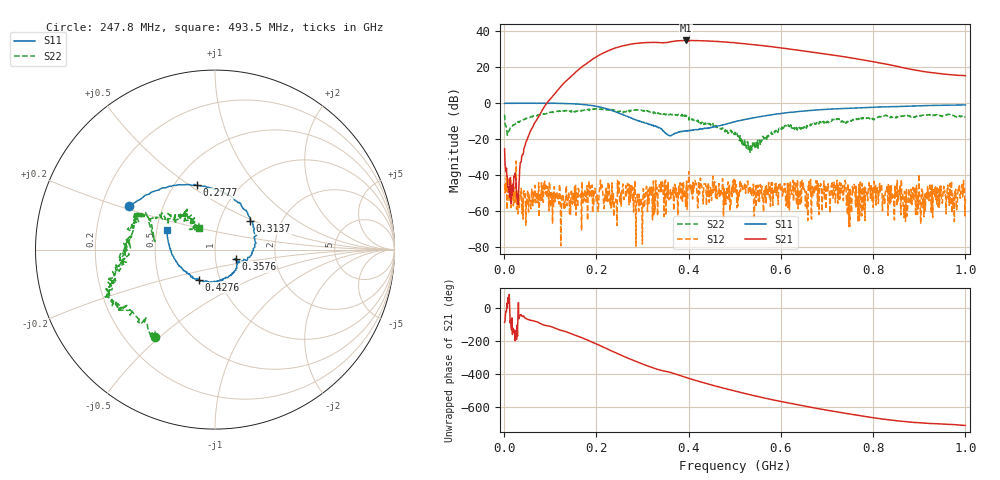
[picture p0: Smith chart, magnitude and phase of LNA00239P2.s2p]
! Created with skrf 1.9.0 (http://scikit-rf.org).
# Hz S RI R 50.0
!freq ReS11 ImS11 ReS21 ImS21 ReS12 ImS12 ReS22 ImS22
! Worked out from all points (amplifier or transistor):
!   1001 points, 1 MHz to 1 GHz, reference 50 ohm
!   highest |S21| = 35.0 dB at 394.6 MHz (marker M1)
!   |S21| within 3 dB of that: 257.2 MHz to 563.2 MHz (306 MHz wide, 74.6 % of centre)
!   unconditionally stable (mu >= 1): start of sweep to 80.59 MHz; 234 MHz to 283.5 MHz; 283.9 MHz to end of sweep (the widest 3 of 30)
!   at 166.8 MHz: K = 0.87, MSG = 34.8 dB, |S12| = -49.7 dB
!   at 500.5 MHz: K = 1.48, MAG = 34.3 dB, |S12| = -43.1 dB
!   at 1 GHz: K = 6.78, MAG = 23.2 dB, |S12| = -53.5 dB
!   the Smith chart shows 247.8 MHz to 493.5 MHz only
!   S11 on the Smith chart (normalised r, x): 247.8 MHz: 0.32, +0.22; 277.7 MHz: 0.64, +0.53; 313.7 MHz: 1.39, +0.48; 357.6 MHz: 1.25, -0.13; 427.6 MHz: 0.79, -0.28; 493.5 MHz: 0.57, +0.13
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1000000  0.9808 -0.00306  0.0034 -0.0532  -0.00221 -0.00517  0.3716 0.3074
1.07893e8  0.5114 -0.8531  -0.8086 -1.516  0.00249 0.00241  0.42 -0.3798
1.67833e8  -0.2703 -0.886  -10.14 -0.246  0.000273 -6.17e-05  0.0374 -0.6272
2.11789e8  -0.6907 -0.3017  -14.73 18.91  0.00379 -0.00377  -0.1952 -0.6311
2.47753e8  -0.4764 0.2431  5.297 36.63  0.000662 0.00422  -0.3351 -0.4873
2.77723e8  -0.1028 0.359  31.51 32.22  -0.0027 -0.000145  -0.5433 -0.3031
3.13687e8  0.1955 0.1606  49.16 5.292  0.00156 -0.000335  -0.5544 -0.1755
3.34666e8  0.2051 -0.0178  47.89 -11.42  0.00378 0.000754  -0.5305 -0.0614
3.57643e8  0.1144 -0.0519  44.79 -23.85  -0.00199 -0.000569  -0.4563 0.105
3.72628e8  0.1268 -0.0778  41.38 -35.68  -0.00259 0.00346  -0.4515 0.1654
3.94606e8  0.073 -0.1555  26.94 -49.35  -0.000949 0.00408  -0.4082 0.1996
4.27573e8  -0.0895 -0.1676  1.176 -55.18  0.00439 0.00245  -0.2278 0.1796
4.55545e8  -0.2028 -0.0837  -19.24 -49.51  0.00497 0.00282  -0.1569 0.2001
4.93507e8  -0.2677 0.1084  -37.06 -32.29  0.00436 -0.000587  -0.0887 0.1197
5.005e8  -0.2659 0.1382  -39.27 -28.56  -0.00661 0.00233  -0.0956 0.1206
5.39461e8  -0.1859 0.3396  -42.42 -7.388  0.00244 -0.00165  -0.064 8.81e-05
5.85415e8  0.0123 0.486  -34.98 11.81  0.000354 -0.00379  -0.1512 -0.0463
6.25375e8  0.2011 0.5273  -23.64 20.74  0.000442 -0.00422  -0.1834 -0.1132
6.67333e8  0.4031 0.4879  -11.76 23.69  -0.00212 -0.00429  -0.2577 -0.0306
7.53247e8  0.6713 0.2746  4.697 17.58  -4.03e-05 0.000889  -0.3186 0.0473
8.34166e8  0.7931 0.0205  8.87 7.91  -0.00034 -0.00348  -0.4164 0.1116
1e9  0.7289 -0.5215  5.829 0.7539  -0.00208 -0.00033  -0.1627 0.3811
